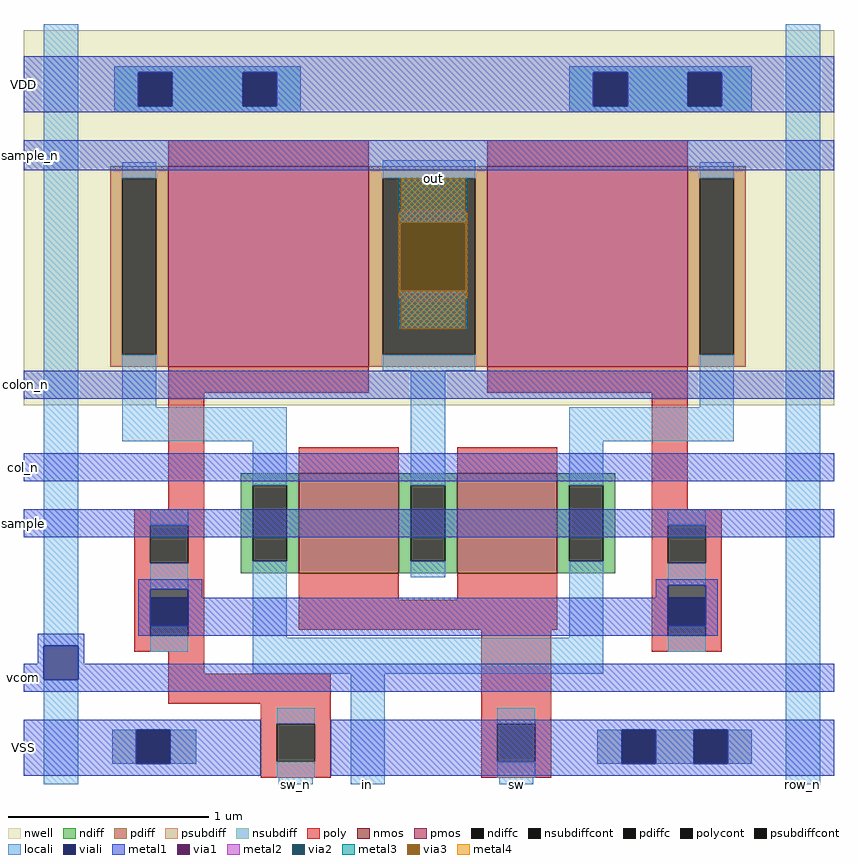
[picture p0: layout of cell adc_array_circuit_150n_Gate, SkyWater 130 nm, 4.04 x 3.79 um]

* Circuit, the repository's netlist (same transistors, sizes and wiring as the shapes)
* NGSPICE file created from adc_array_circuit_150n_Gate.ext - technology: sky130A

.subckt adc_array_circuit_150n_Gate vcom sample sample_n col_n colon_n row_n sw_n
+ in sw out VDD VSS
X0 in sw out VSS sky130_fd_pr__nfet_01v8 ad=2.9e+11p pd=3.16e+06u as=1.45e+11p ps=1.58e+06u w=500000u l=500000u
X1 out sw in VSS sky130_fd_pr__nfet_01v8 ad=0p pd=0u as=0p ps=0u w=500000u l=500000u
X2 out sw_n in VDD sky130_fd_pr__pfet_01v8 ad=5.9e+11p pd=3.18e+06u as=5.8e+11p ps=5.16e+06u w=1e+06u l=1e+06u
X3 in sw_n out VDD sky130_fd_pr__pfet_01v8 ad=0p pd=0u as=0p ps=0u w=1e+06u l=1e+06u
.ends

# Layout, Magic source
magic
tech sky130A
<< nwell >>
rect 117 474 521 661
<< nmos >>
rect 254 390 304 440
rect 333 390 383 440
<< pmos >>
rect 189 493 289 593
rect 348 493 448 593
<< ndiff >>
rect 225 434 254 440
rect 225 396 231 434
rect 248 396 254 434
rect 225 390 254 396
rect 304 434 333 440
rect 304 396 310 434
rect 327 396 333 434
rect 304 390 333 396
rect 383 434 412 440
rect 383 396 389 434
rect 406 396 412 434
rect 383 390 412 396
<< pdiff >>
rect 160 587 189 593
rect 160 499 166 587
rect 183 499 189 587
rect 160 493 189 499
rect 289 587 348 593
rect 289 499 296 587
rect 342 499 348 587
rect 289 493 348 499
rect 448 587 477 593
rect 448 499 454 587
rect 471 499 477 587
rect 448 493 477 499
<< ndiffc >>
rect 231 396 248 434
rect 310 396 327 434
rect 389 396 406 434
<< pdiffc >>
rect 166 499 183 587
rect 296 499 342 587
rect 454 499 471 587
<< psubdiff >>
rect 161 295 173 312
rect 190 295 203 312
rect 403 295 415 312
rect 432 295 451 312
rect 468 295 480 312
<< nsubdiff >>
rect 162 640 255 643
rect 162 623 174 640
rect 191 623 226 640
rect 243 623 255 640
rect 162 620 255 623
rect 389 640 480 643
rect 389 623 401 640
rect 418 623 448 640
rect 465 623 480 640
rect 389 620 480 623
<< psubdiffcont >>
rect 173 295 190 312
rect 415 295 432 312
rect 451 295 468 312
<< nsubdiffcont >>
rect 174 623 191 640
rect 226 623 243 640
rect 401 623 418 640
rect 448 623 465 640
<< poly >>
rect 189 593 289 606
rect 348 593 448 606
rect 189 480 289 493
rect 348 480 448 493
rect 189 422 207 480
rect 254 440 304 453
rect 333 440 383 453
rect 172 414 207 422
rect 172 395 180 414
rect 199 395 207 414
rect 172 378 207 395
rect 430 422 448 480
rect 430 414 465 422
rect 430 395 438 414
rect 457 395 465 414
rect 172 359 180 378
rect 199 359 207 378
rect 254 377 304 390
rect 333 377 383 390
rect 254 362 383 377
rect 430 378 465 395
rect 172 351 207 359
rect 189 340 207 351
rect 189 325 270 340
rect 235 315 270 325
rect 235 296 243 315
rect 262 296 270 315
rect 235 288 270 296
rect 345 315 380 362
rect 430 359 438 378
rect 457 359 465 378
rect 430 351 465 359
rect 345 296 353 315
rect 372 296 380 315
rect 345 288 380 296
<< polycont >>
rect 180 395 199 414
rect 438 395 457 414
rect 180 359 199 378
rect 243 296 262 315
rect 438 359 457 378
rect 353 296 372 315
<< locali >>
rect 127 354 144 664
rect 162 640 255 643
rect 162 623 174 640
rect 191 623 226 640
rect 243 623 255 640
rect 162 620 255 623
rect 389 640 480 643
rect 389 623 401 640
rect 418 623 448 640
rect 465 623 480 640
rect 389 620 480 623
rect 166 587 183 595
rect 166 473 183 499
rect 296 587 342 596
rect 296 491 342 499
rect 454 587 471 595
rect 166 456 248 473
rect 231 434 248 456
rect 180 414 199 422
rect 180 382 199 395
rect 180 351 199 359
rect 231 358 248 396
rect 310 434 327 491
rect 454 473 471 499
rect 310 388 327 396
rect 389 456 471 473
rect 389 434 406 456
rect 389 358 406 396
rect 231 340 406 358
rect 438 414 457 422
rect 438 384 457 395
rect 438 351 457 359
rect 127 285 144 337
rect 243 315 262 323
rect 161 295 173 312
rect 190 295 203 312
rect 243 288 262 296
rect 244 285 261 288
rect 280 285 297 340
rect 353 315 372 323
rect 353 288 372 296
rect 403 295 415 312
rect 432 295 451 312
rect 468 295 480 312
rect 354 285 371 288
rect 497 285 514 664
<< viali >>
rect 174 623 191 640
rect 226 623 243 640
rect 401 623 418 640
rect 448 623 465 640
rect 307 531 335 565
rect 127 337 144 354
rect 180 378 199 382
rect 180 364 199 378
rect 438 378 457 384
rect 438 364 457 378
rect 173 295 190 312
rect 415 295 432 312
rect 451 295 468 312
<< metal1 >>
rect 117 640 521 648
rect 117 623 174 640
rect 191 623 226 640
rect 243 623 401 640
rect 418 623 448 640
rect 465 623 521 640
rect 117 620 521 623
rect 117 591 521 606
rect 304 565 338 571
rect 304 531 307 565
rect 335 531 338 565
rect 304 512 338 531
rect 117 477 521 491
rect 117 436 521 450
rect 117 408 521 422
rect 174 382 206 387
rect 174 364 180 382
rect 199 378 206 382
rect 432 384 463 387
rect 432 378 438 384
rect 199 364 438 378
rect 457 364 463 384
rect 124 354 147 360
rect 174 359 463 364
rect 124 345 127 354
rect 117 337 127 345
rect 144 345 147 354
rect 144 337 521 345
rect 117 331 521 337
rect 117 312 235 317
rect 117 295 173 312
rect 190 295 235 312
rect 117 289 235 295
rect 270 312 521 317
rect 270 295 415 312
rect 432 295 451 312
rect 468 295 521 312
rect 270 289 521 295
<< via1 >>
rect 308 531 334 565
<< metal2 >>
rect 307 565 335 571
rect 307 526 335 531
<< via2 >>
rect 307 531 308 565
rect 308 531 334 565
rect 334 531 335 565
<< metal3 >>
rect 304 565 338 587
rect 304 531 305 565
rect 337 531 338 565
rect 304 512 338 531
<< via3 >>
rect 305 531 307 565
rect 307 531 335 565
rect 335 531 337 565
<< metal4 >>
rect 305 570 337 587
rect 304 565 338 570
rect 304 531 305 565
rect 337 531 338 565
rect 304 527 338 531
rect 305 512 337 527
<< labels >>
rlabel metal1 117 436 117 450 7 col_n
port 6 w
rlabel metal1 117 477 117 491 7 colon_n
port 7 w
rlabel metal1 117 331 117 345 7 vcom
port 3 w
rlabel metal1 117 591 117 606 7 sample_n
port 5 w
rlabel metal1 117 408 117 422 7 sample
port 4 w
rlabel metal1 117 289 117 317 7 VSS
port 2 w
rlabel metal1 117 620 117 648 7 VDD
port 1 w
rlabel locali 497 285 514 285 5 row_n
port 8 s
rlabel locali 244 285 261 285 5 sw_n
port 9 s
rlabel locali 354 285 371 285 5 sw
port 11 s
rlabel metal4 305 587 337 587 1 out
port 12 n
rlabel locali 280 285 297 285 5 in
port 10 s
<< end >>
